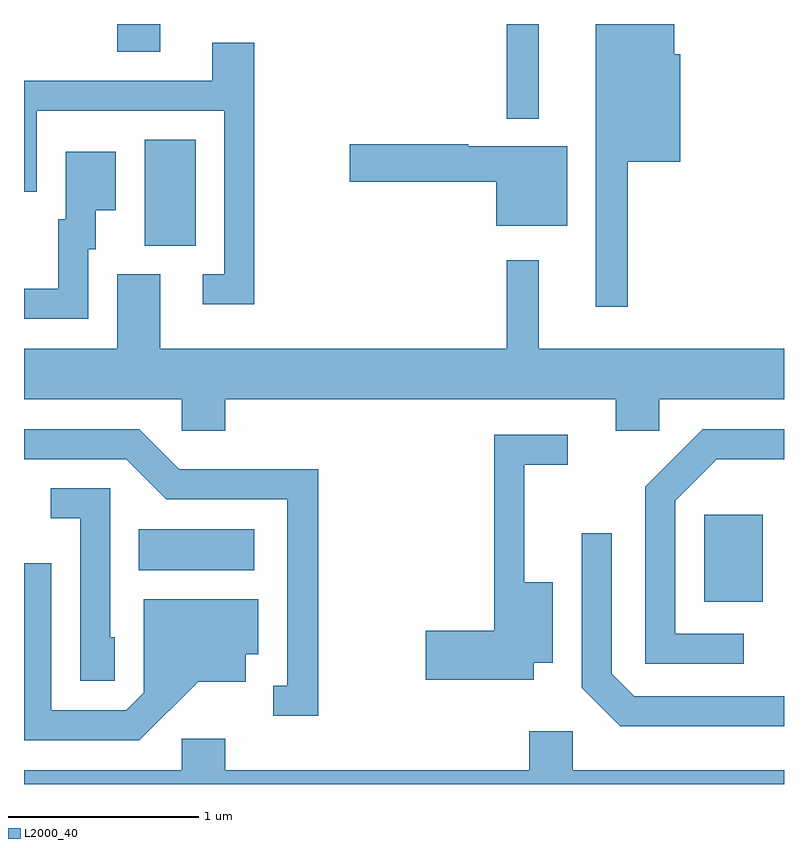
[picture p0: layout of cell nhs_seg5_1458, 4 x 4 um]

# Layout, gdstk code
import gdstk
lib = gdstk.Library(unit=1e-6, precision=1e-09)
def R(c, l, rs):  # rectangles x0, y0, x1, y1
    for r in rs: c.add(gdstk.rectangle(r[:2], r[2:], *l))
def P(c, l, *ps):  # polygons
    for p in ps: c.add(gdstk.Polygon(p, *l))
L2000_40 = (2000, 40)

nhs_seg5_1458 = lib.new_cell('nhs_seg5_1458')
R(nhs_seg5_1458, L2000_40, [(231.191,1489.031,231.499,1489.489), (228.216,1489.196,228.824,1489.414), (228.246,1490.906,228.514,1491.464), (230.151,1491.573,230.319,1492.072), (228.101,1491.926,228.329,1492.072)])
P(nhs_seg5_1458, L2000_40, [(230.789,1491.346),(231.064,1491.346),(231.064,1491.914),(231.034,1491.914),(231.034,1492.072),(230.621,1492.072),(230.621,1490.583),(230.789,1490.583)],
  [(228.824,1491.974),(228.601,1491.974),(228.601,1491.774),(227.611,1491.774),(227.611,1491.188),(227.679,1491.188),(227.679,1491.616),(228.666,1491.616),(228.666,1490.754),(228.553,1490.754),(228.553,1490.596),(228.824,1490.596)],
  [(230.469,1491.429),(229.95,1491.429),(229.95,1491.439),(229.326,1491.439),(229.326,1491.241),(230.096,1491.241),(230.096,1491.011),(230.469,1491.011)],
  [(227.949,1490.886),(227.989,1490.886),(227.989,1491.091),(228.094,1491.091),(228.094,1491.399),(227.831,1491.399),(227.831,1491.044),(227.791,1491.044),(227.791,1490.679),(227.611,1490.679),(227.611,1490.521),(227.949,1490.521)],
  [(228.101,1490.754),(228.101,1490.364),(227.611,1490.364),(227.611,1490.096),(228.441,1490.096),(228.441,1489.931),(228.669,1489.931),(228.669,1490.096),(230.726,1490.096),(230.726,1489.931),(230.954,1489.931),(230.954,1490.096),(231.611,1490.096),(231.611,1490.364),(230.319,1490.364),(230.319,1490.828),(230.151,1490.828),(230.151,1490.364),(228.329,1490.364),(228.329,1490.754)],
  [(231.398,1488.864),(231.039,1488.864),(231.039,1489.564),(231.257,1489.781),(231.611,1489.781),(231.611,1489.939),(231.184,1489.939),(230.881,1489.637),(230.881,1488.706),(231.398,1488.706)],
  [(229.159,1489.729),(228.427,1489.729),(228.217,1489.939),(227.611,1489.939),(227.611,1489.781),(228.149,1489.781),(228.359,1489.571),(228.996,1489.571),(228.996,1488.589),(228.923,1488.589),(228.923,1488.431),(229.159,1488.431)],
  [(230.294,1488.711),(230.394,1488.711),(230.394,1489.134),(230.244,1489.134),(230.244,1489.751),(230.473,1489.751),(230.473,1489.909),(230.086,1489.909),(230.086,1488.879),(229.726,1488.879),(229.726,1488.621),(230.294,1488.621)],
  [(228.089,1488.844),(228.064,1488.844),(228.064,1489.629),(227.753,1489.629),(227.753,1489.471),(227.906,1489.471),(227.906,1488.616),(228.089,1488.616)],
  [(231.611,1488.534),(230.822,1488.534),(230.704,1488.652),(230.704,1489.393),(230.546,1489.393),(230.546,1488.579),(230.749,1488.376),(231.611,1488.376)],
  [(228.527,1488.611),(228.779,1488.611),(228.779,1488.756),(228.844,1488.756),(228.844,1489.044),(228.241,1489.044),(228.241,1488.552),(228.149,1488.459),(227.754,1488.459),(227.754,1489.233),(227.611,1489.233),(227.611,1488.301),(228.217,1488.301)],
  [(230.271,1488.349),(230.271,1488.144),(228.669,1488.144),(228.669,1488.309),(228.441,1488.309),(228.441,1488.144),(227.611,1488.144),(227.611,1488.072),(231.611,1488.072),(231.611,1488.144),(230.499,1488.144),(230.499,1488.349)])

lib.write_gds('nhs_seg5_1458.gds')
